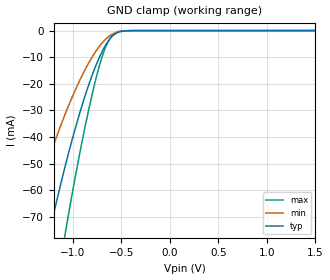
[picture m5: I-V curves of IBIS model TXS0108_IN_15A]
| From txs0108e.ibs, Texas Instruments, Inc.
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[Model]   TXS0108_IN_15A
Model_type  Input
Vinl=0.15
Vinh=1.4
| variable   typ   min   max
C_comp   3.06pF   2.68pF   3.28pF
[Temperature Range]   40   100   -40
| Ambient temperature   25   85   -40
[Voltage range]   1.5   1.4   1.6
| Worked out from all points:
|   GND clamp passes 1 mA (typ) near -0.55 V on its own axis
[GND Clamp]
| TXS0108_IN_15A
|   Voltage   I(typ)   I(min)   I(max)
-5.5V     -1.044A    -792.1mA   -1.306A
-1.485V   -118mA     -75.66mA   -171.9mA
-1.255V   -77.92mA   -48.89mA   -115.7mA
-1.215V   -71.46mA   -44.65mA   -106.4mA
-1.095V   -53.14mA   -32.79mA   -79.59mA
-1.06V    -48.13mA   -29.58mA   -72.13mA
-895mV    -26.83mA   -16.12mA   -39.75mA
-760mV    -12.86mA   -7.551mA   -17.68mA
-665mV    -5.596mA   -3.318mA   -6.387mA
-575mV    -1.539mA   -1.032mA   -1.212mA
-390mV    -19.27uA   -22.8uA    -4.018uA
1.5V      97.94pA    494.9pA    11.19pA
